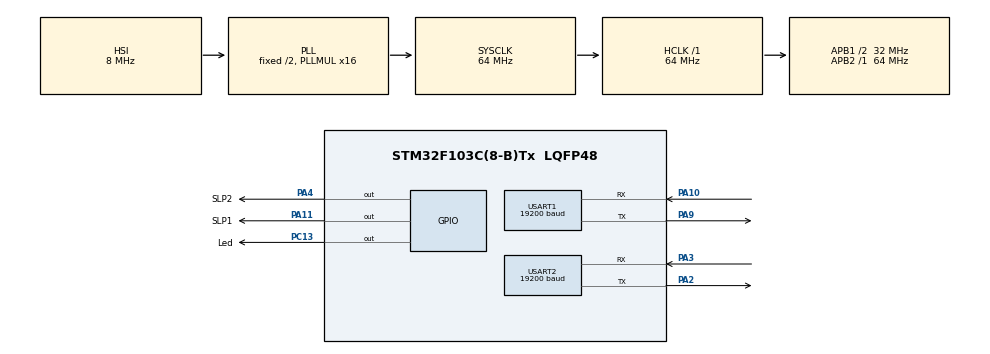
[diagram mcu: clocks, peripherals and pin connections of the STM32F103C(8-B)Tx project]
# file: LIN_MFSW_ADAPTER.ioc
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IWDG.Prescaler=IWDG_PRESCALER_32
IWDG.Reload=1000
Mcu.Family=STM32F1
Mcu.Name=STM32F103C(8-B)Tx
Mcu.Package=LQFP48
NVIC.PriorityGroup=NVIC_PRIORITYGROUP_4
NVIC.USART1_IRQn=true\:0\:0\:false\:false\:true\:true\:true\:true
NVIC.USART2_IRQn=true\:0\:0\:false\:false\:true\:true\:true\:true
PA10.Mode=LIN
PA10.Signal=USART1_RX
PA11.GPIO_Label=SLP1
PA11.GPIO_PuPd=GPIO_PULLUP
PA11.Signal=GPIO_Output
PA13.Mode=Serial_Wire
PA13.Signal=SYS_JTMS-SWDIO
PA14.Mode=Serial_Wire
PA14.Signal=SYS_JTCK-SWCLK
PA2.Mode=LIN
PA2.Signal=USART2_TX
PA3.Mode=LIN
PA3.Signal=USART2_RX
PA4.GPIO_Label=SLP2
PA4.GPIO_PuPd=GPIO_PULLUP
PA4.Signal=GPIO_Output
PA9.Mode=LIN
PA9.Signal=USART1_TX
PB3.Signal=SYS_JTDO-TRACESWO
PC13-TAMPER-RTC.GPIO_Label=Led
PC13-TAMPER-RTC.Signal=GPIO_Output
PD0-OSC_IN.Mode=HSE-External-Oscillator
PD0-OSC_IN.Signal=RCC_OSC_IN
PD1-OSC_OUT.Mode=HSE-External-Oscillator
PD1-OSC_OUT.Signal=RCC_OSC_OUT
ProjectManager.HeapSize=0x200
ProjectManager.StackSize=0x400
ProjectManager.TargetToolchain=MDK-ARM V5.32
RCC.AHBFreq_Value=64000000
RCC.APB1CLKDivider=RCC_HCLK_DIV2
RCC.APB1Freq_Value=32000000
RCC.APB1TimFreq_Value=64000000
RCC.APB2Freq_Value=64000000
RCC.APB2TimFreq_Value=64000000
RCC.HCLKFreq_Value=64000000
RCC.PLLMUL=RCC_PLL_MUL16
RCC.SYSCLKFreq_VALUE=64000000
RCC.SYSCLKSource=RCC_SYSCLKSOURCE_PLLCLK
RCC.USBFreq_Value=64000000
USART1.BaudRate=19200
USART1.BreakDetectLength=UART_LINBREAKDETECTLENGTH_11B
USART1.VirtualMode=VM_ASYNC
USART2.BaudRate=19200
USART2.BreakDetectLength=UART_LINBREAKDETECTLENGTH_11B
USART2.VirtualMode=VM_ASYNC
VP_IWDG_VS_IWDG.Mode=IWDG_Activate
board=custom

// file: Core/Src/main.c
/* USER CODE BEGIN Header */
/**
  ******************************************************************************
  * @file           : main.c
  * @brief          : Main program body
  ******************************************************************************
  * @attention
  *
  * Copyright (c) 2022 STMicroelectronics.
  * All rights reserved.
  *
  * This software is licensed under terms that can be found in the LICENSE file
  * in the root directory of this software component.
  * If no LICENSE file comes with this software, it is provided AS-IS.
  *
  ******************************************************************************
  */
/* USER CODE END Header */
#include "main.h"

IWDG_HandleTypeDef hiwdg;

UART_HandleTypeDef huart1;
UART_HandleTypeDef huart2;

/* USER CODE BEGIN PV */

uint8_t buttonData[BUTTONS_LEN];
uint8_t statusData[STATUS_LEN];
uint8_t tempData[TEMP_LEN];
uint8_t buttonBuf[BUTTONS_LEN];
uint8_t statusBuf[STATUS_LEN];
uint8_t tempBuf[TEMP_LEN];
uint8_t diagRqBuf[DIAG_RQ_LEN];
HAL_StatusTypeDef sendResult;
HAL_StatusTypeDef readResult;

/* USER CODE END PV */

void SystemClock_Config(void);
static void MX_GPIO_Init(void);
static void MX_USART1_UART_Init(void);
static void MX_USART2_UART_Init(void);
static void MX_IWDG_Init(void);

/* USER CODE BEGIN 0 */
LIN_State slaveState = LIN_RECEIVING_BREAK;
/* USER CODE END 0 */

int main(void)

{

  /* MCU Configuration--------------------------------------------------------*/

  /* Reset of all peripherals, Initializes the Flash interface and the Systick. */
  HAL_Init();

  /* Configure the system clock */
  SystemClock_Config();

  /* Initialize all configured peripherals */
  MX_GPIO_Init();
  MX_USART1_UART_Init();
  MX_USART2_UART_Init();
  MX_IWDG_Init();
  /* USER CODE BEGIN 2 */

	HAL_GPIO_WritePin(GPIOA, GPIO_PIN_4, GPIO_PIN_SET);
	HAL_GPIO_WritePin(GPIOA, GPIO_PIN_11, GPIO_PIN_SET);

	__HAL_UART_ENABLE_IT(&huart2, UART_IT_LBD);
	__HAL_UART_ENABLE_IT(&huart2, UART_IT_RXNE);
	__HAL_UART_DISABLE_IT(&huart1, UART_IT_LBD);

  /* USER CODE END 2 */

  /* Infinite loop */
  while (1)
  {

  }
}

void SystemClock_Config(void)
{
  RCC_OscInitTypeDef RCC_OscInitStruct = {0};
  RCC_ClkInitTypeDef RCC_ClkInitStruct = {0};

  /** Initializes the RCC Oscillators according to the specified parameters
  * in the RCC_OscInitTypeDef structure.
  */
  RCC_OscInitStruct.OscillatorType = RCC_OSCILLATORTYPE_HSI|RCC_OSCILLATORTYPE_LSI;
  RCC_OscInitStruct.HSIState = RCC_HSI_ON;
  RCC_OscInitStruct.HSICalibrationValue = RCC_HSICALIBRATION_DEFAULT;
  RCC_OscInitStruct.LSIState = RCC_LSI_ON;
  RCC_OscInitStruct.PLL.PLLState = RCC_PLL_ON;
  RCC_OscInitStruct.PLL.PLLSource = RCC_PLLSOURCE_HSI_DIV2;
  RCC_OscInitStruct.PLL.PLLMUL = RCC_PLL_MUL16;
  if (HAL_RCC_OscConfig(&RCC_OscInitStruct) != HAL_OK)
  {
    Error_Handler();
  }

  /** Initializes the CPU, AHB and APB buses clocks
  */
  RCC_ClkInitStruct.ClockType = RCC_CLOCKTYPE_HCLK|RCC_CLOCKTYPE_SYSCLK
                              |RCC_CLOCKTYPE_PCLK1|RCC_CLOCKTYPE_PCLK2;
  RCC_ClkInitStruct.SYSCLKSource = RCC_SYSCLKSOURCE_PLLCLK;
  RCC_ClkInitStruct.AHBCLKDivider = RCC_SYSCLK_DIV1;
  RCC_ClkInitStruct.APB1CLKDivider = RCC_HCLK_DIV2;
  RCC_ClkInitStruct.APB2CLKDivider = RCC_HCLK_DIV1;

  if (HAL_RCC_ClockConfig(&RCC_ClkInitStruct, FLASH_LATENCY_2) != HAL_OK)
  {
    Error_Handler();
  }
}

static void MX_IWDG_Init(void)
{

  hiwdg.Instance = IWDG;
  hiwdg.Init.Prescaler = IWDG_PRESCALER_32;
  hiwdg.Init.Reload = 1000;
  if (HAL_IWDG_Init(&hiwdg) != HAL_OK)
  {
    Error_Handler();
  }

}

static void MX_USART1_UART_Init(void)
{

  huart1.Instance = USART1;
  huart1.Init.BaudRate = 19200;
  huart1.Init.WordLength = UART_WORDLENGTH_8B;
  huart1.Init.StopBits = UART_STOPBITS_1;
  huart1.Init.Parity = UART_PARITY_NONE;
  huart1.Init.Mode = UART_MODE_TX_RX;
  huart1.Init.HwFlowCtl = UART_HWCONTROL_NONE;
  if (HAL_LIN_Init(&huart1, UART_LINBREAKDETECTLENGTH_11B) != HAL_OK)
  {
    Error_Handler();
  }

}

static void MX_USART2_UART_Init(void)
{

  huart2.Instance = USART2;
  huart2.Init.BaudRate = 19200;
  huart2.Init.WordLength = UART_WORDLENGTH_8B;
  huart2.Init.StopBits = UART_STOPBITS_1;
  huart2.Init.Parity = UART_PARITY_NONE;
  huart2.Init.Mode = UART_MODE_TX_RX;
  huart2.Init.HwFlowCtl = UART_HWCONTROL_NONE;
  if (HAL_LIN_Init(&huart2, UART_LINBREAKDETECTLENGTH_11B) != HAL_OK)
  {
    Error_Handler();
  }

}

static void MX_GPIO_Init(void)
{
  GPIO_InitTypeDef GPIO_InitStruct = {0};

  /* GPIO Ports Clock Enable */
  __HAL_RCC_GPIOC_CLK_ENABLE();
  __HAL_RCC_GPIOD_CLK_ENABLE();
  __HAL_RCC_GPIOA_CLK_ENABLE();
  __HAL_RCC_GPIOB_CLK_ENABLE();

  /*Configure GPIO pin Output Level */
  HAL_GPIO_WritePin(Led_GPIO_Port, Led_Pin, GPIO_PIN_RESET);

  /*Configure GPIO pin Output Level */
  HAL_GPIO_WritePin(GPIOA, SLP2_Pin|SLP1_Pin, GPIO_PIN_RESET);

  /*Configure GPIO pin : Led_Pin */
  GPIO_InitStruct.Pin = Led_Pin;
  GPIO_InitStruct.Mode = GPIO_MODE_OUTPUT_PP;
  GPIO_InitStruct.Pull = GPIO_NOPULL;
  GPIO_InitStruct.Speed = GPIO_SPEED_FREQ_LOW;
  HAL_GPIO_Init(Led_GPIO_Port, &GPIO_InitStruct);

  /*Configure GPIO pins : SLP2_Pin SLP1_Pin */
  GPIO_InitStruct.Pin = SLP2_Pin|SLP1_Pin;
  GPIO_InitStruct.Mode = GPIO_MODE_OUTPUT_PP;
  GPIO_InitStruct.Pull = GPIO_PULLUP;
  GPIO_InitStruct.Speed = GPIO_SPEED_FREQ_LOW;
  HAL_GPIO_Init(GPIOA, &GPIO_InitStruct);

}

/* USER CODE BEGIN 4 */
HAL_StatusTypeDef linSend(UART_HandleTypeDef *huart, uint8_t id, uint8_t data[], uint8_t len)
{
	uint8_t linSync = LIN_SYNC_BYTE;
	uint8_t buf[len + 2];
	buf[0] = linSync;
	buf[1] = id;
	for (int i = 0; i < len + 2; i++)
	{
		buf[i + 2] = data[i];
	}
	HAL_LIN_SendBreak(huart);
	HAL_StatusTypeDef result = HAL_UART_Transmit_IT(huart, buf, len + 2);
	return result;
}

HAL_StatusTypeDef linRead(UART_HandleTypeDef *huart, uint8_t id, uint8_t data[], uint8_t len)
{
	uint8_t linSync = LIN_SYNC_BYTE;
	uint8_t txbuf[2];
	txbuf[0] = linSync;
	txbuf[1] = id;
	HAL_LIN_SendBreak(huart);
	sendResult = HAL_UART_Transmit_IT(huart, txbuf, 2);
	if (sendResult != HAL_OK) {
		return sendResult;
	}
	readResult = HAL_UART_Receive_IT(huart, data, len);
	return readResult;
}

HAL_StatusTypeDef linRequest(UART_HandleTypeDef *huart, uint8_t id)
{
	uint8_t linSync = LIN_SYNC_BYTE;
	uint8_t txbuf[2];
	txbuf[0] = linSync;
	txbuf[1] = id;
	HAL_LIN_SendBreak(huart);
	sendResult = HAL_UART_Transmit_IT(huart, txbuf, 2);
	return sendResult;
}
uint8_t LIN_CalcCheckSum(uint8_t *id, uint8_t *data, uint8_t len)
{
  uint16_t sum = 0;
	sum += *id;

  for (uint8_t i = 0; i < len; i++)
  {
    sum += data[i];
  }

  while(sum > 0xFF)
  {
    sum -= 0xFF;
  }

  sum = 0xFF - sum;

  return (uint8_t)sum;
}

void blink(void)
{
	HAL_GPIO_TogglePin(Led_GPIO_Port, Led_Pin);
}
/* USER CODE END 4 */

void Error_Handler(void)
{
  __disable_irq();
  while (1)
  {
  }
}
